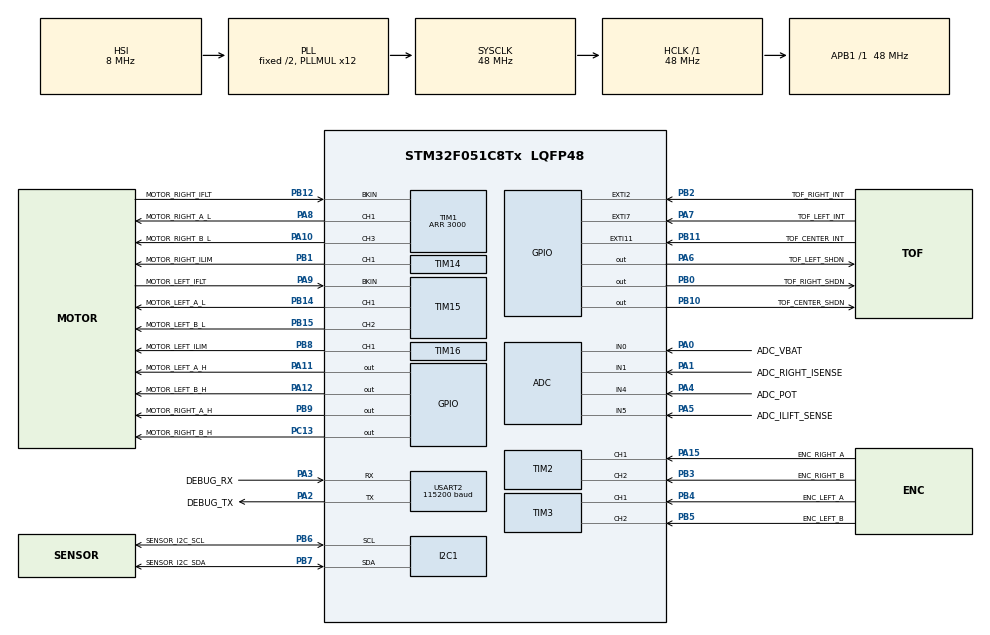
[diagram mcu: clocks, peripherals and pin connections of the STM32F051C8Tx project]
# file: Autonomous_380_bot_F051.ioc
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ADC.ContinuousConvMode=ENABLE
ADC.DMAContinuousRequests=ENABLE
ADC.EOCSelection=ADC_EOC_SEQ_CONV
ADC.Overrun=ADC_OVR_DATA_OVERWRITTEN
ADC.SamplingTime=ADC_SAMPLETIME_239CYCLES_5
Dma.ADC.0.Direction=DMA_PERIPH_TO_MEMORY
Dma.ADC.0.Instance=DMA1_Channel1
Dma.ADC.0.MemDataAlignment=DMA_MDATAALIGN_HALFWORD
Dma.ADC.0.MemInc=DMA_MINC_ENABLE
Dma.ADC.0.Mode=DMA_CIRCULAR
Dma.ADC.0.PeriphDataAlignment=DMA_PDATAALIGN_HALFWORD
Dma.ADC.0.PeriphInc=DMA_PINC_DISABLE
Dma.ADC.0.Priority=DMA_PRIORITY_LOW
Dma.Request0=ADC
Mcu.Family=STM32F0
Mcu.Name=STM32F051C8Tx
Mcu.Package=LQFP48
NVIC.DMA1_Channel1_IRQn=true\:0\:0\:false\:false\:true\:false\:true
PA0.GPIO_Label=ADC_VBAT
PA0.Mode=IN0
PA0.Signal=ADC_IN0
PA1.GPIO_Label=ADC_RIGHT_ISENSE
PA1.Mode=IN1
PA1.Signal=ADC_IN1
PA10.GPIO_Label=MOTOR_RIGHT_B_L
PA10.Signal=S_TIM1_CH3
PA11.GPIO_Label=MOTOR_LEFT_A_H
PA11.Signal=GPIO_Output
PA12.GPIO_Label=MOTOR_LEFT_B_H
PA12.Signal=GPIO_Output
PA13.Mode=Serial_Wire
PA13.Signal=SYS_SWDIO
PA14.Mode=Serial_Wire
PA14.Signal=SYS_SWCLK
PA15.GPIO_Label=ENC_RIGHT_A
PA15.Signal=S_TIM2_CH1_ETR
PA2.GPIO_Label=DEBUG_TX
PA2.Mode=Asynchronous
PA2.Signal=USART2_TX
PA3.GPIO_Label=DEBUG_RX
PA3.Mode=Asynchronous
PA3.Signal=USART2_RX
PA4.GPIO_Label=ADC_POT
PA4.Mode=IN4
PA4.Signal=ADC_IN4
PA5.GPIO_Label=ADC_ILIFT_SENSE
PA5.Mode=IN5
PA5.Signal=ADC_IN5
PA6.GPIO_Label=TOF_LEFT_SHDN
PA6.Signal=GPIO_Output
PA7.GPIO_Label=TOF_LEFT_INT
PA7.Signal=GPXTI7
PA8.GPIO_Label=MOTOR_RIGHT_A_L
PA8.Signal=S_TIM1_CH1
PA9.GPIO_Label=MOTOR_LEFT_IFLT
PA9.Mode=Activate-Break-Input
PA9.Signal=TIM15_BKIN
PB0.GPIO_Label=TOF_RIGHT_SHDN
PB0.Signal=GPIO_Output
PB1.GPIO_Label=MOTOR_RIGHT_ILIM
PB1.Signal=S_TIM14_CH1
PB10.GPIO_Label=TOF_CENTER_SHDN
PB10.Signal=GPIO_Output
PB11.GPIO_Label=TOF_CENTER_INT
PB11.Signal=GPXTI11
PB12.GPIO_Label=MOTOR_RIGHT_IFLT
PB12.Mode=Activate-Break-Input
PB12.Signal=TIM1_BKIN
PB14.GPIO_Label=MOTOR_LEFT_A_L
PB14.Signal=S_TIM15_CH1
PB15.GPIO_Label=MOTOR_LEFT_B_L
PB15.Signal=S_TIM15_CH2
PB2.GPIO_Label=TOF_RIGHT_INT
PB2.Signal=GPXTI2
PB3.GPIO_Label=ENC_RIGHT_B
PB3.Signal=S_TIM2_CH2
PB4.GPIO_Label=ENC_LEFT_A
PB4.Signal=S_TIM3_CH1
PB5.GPIO_Label=ENC_LEFT_B
PB5.Signal=S_TIM3_CH2
PB6.GPIO_Label=SENSOR_I2C_SCL
PB6.Mode=I2C
PB6.Signal=I2C1_SCL
PB7.GPIO_Label=SENSOR_I2C_SDA
PB7.Mode=I2C
PB7.Signal=I2C1_SDA
PB8.GPIO_Label=MOTOR_LEFT_ILIM
PB8.Signal=S_TIM16_CH1
PB9.GPIO_Label=MOTOR_RIGHT_A_H
PB9.Signal=GPIO_Output
PC13.GPIO_Label=MOTOR_RIGHT_B_H
PC13.Signal=GPIO_Output
ProjectManager.HeapSize=0x200
ProjectManager.StackSize=0x400
ProjectManager.TargetToolchain=STM32CubeIDE
RCC.AHBFreq_Value=48000000
RCC.APB1Freq_Value=48000000
RCC.APB1TimFreq_Value=48000000
RCC.HCLKFreq_Value=48000000
RCC.PLLMUL=RCC_PLL_MUL12
RCC.SYSCLKFreq_VALUE=48000000
RCC.SYSCLKSource=RCC_SYSCLKSOURCE_PLLCLK
SH.S_TIM14_CH1.0=TIM14_CH1,PWM Generation1 CH1
SH.S_TIM15_CH1.0=TIM15_CH1,PWM Generation1 CH1
SH.S_TIM15_CH2.0=TIM15_CH2,PWM Generation2 CH2
SH.S_TIM16_CH1.0=TIM16_CH1,PWM Generation1 CH1
SH.S_TIM1_CH1.0=TIM1_CH1,PWM Generation1 CH1
SH.S_TIM1_CH3.0=TIM1_CH3,PWM Generation3 CH3
SH.S_TIM2_CH1_ETR.0=TIM2_CH1,Encoder_Interface
SH.S_TIM2_CH2.0=TIM2_CH2,Encoder_Interface
SH.S_TIM3_CH1.0=TIM3_CH1,Encoder_Interface
SH.S_TIM3_CH2.0=TIM3_CH2,Encoder_Interface
TIM1.Channel-PWM\ Generation1\ CH1=TIM_CHANNEL_1
TIM1.Channel-PWM\ Generation3\ CH3=TIM_CHANNEL_3
TIM1.Period=3000
TIM14.Channel=TIM_CHANNEL_1
TIM14.Period=3000
TIM15.Channel-PWM\ Generation1\ CH1=TIM_CHANNEL_1
TIM15.Channel-PWM\ Generation2\ CH2=TIM_CHANNEL_2
TIM16.Channel=TIM_CHANNEL_1
TIM16.Period=3000
USART2.BaudRate=115200
USART2.VirtualMode-Asynchronous=VM_ASYNC
VP_TIM14_VS_ClockSourceINT.Mode=Enable_Timer
VP_TIM15_VS_ClockSourceINT.Mode=Internal
VP_TIM16_VS_ClockSourceINT.Mode=Enable_Timer
VP_TIM1_VS_ClockSourceINT.Mode=Internal
board=custom

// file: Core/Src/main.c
/* USER CODE BEGIN Header */
/**
  ******************************************************************************
  * @file           : main.c
  * @brief          : Main program body
  ******************************************************************************
  * @attention
  *
  * Copyright (c) 2022 STMicroelectronics.
  * All rights reserved.
  *
  * This software is licensed under terms that can be found in the LICENSE file
  * in the root directory of this software component.
  * If no LICENSE file comes with this software, it is provided AS-IS.
  *
  ******************************************************************************
  */
/* USER CODE END Header */
#include "main.h"
#include "adc.h"
#include "dma.h"
#include "i2c.h"
#include "tim.h"
#include "usart.h"
#include "gpio.h"

/* USER CODE BEGIN Includes */
#include "motors.h"
/* USER CODE END Includes */

/* USER CODE BEGIN PTD */
/*typedef enum
{
	NONE = 0,
	UP,
	DOWN,
	LEFT,
	RIGHT,
	CENTRE
}keypadState;
keypadState keypadStatus;*/
/* USER CODE END PTD */

/* USER CODE BEGIN PD */
#define SYSTEM_TICK 100
/* USER CODE END PD */

/* USER CODE BEGIN PV */
uint32_t current_time, last_time;
HAL_StatusTypeDef uart2Status;
uint16_t VbatSense;
uint16_t PotSense, LeftCurrentCount, RightCurrentCount;
uint8_t printNone[] = {' ', 'N', 'O', 'N', 'E', 0x0A, 0x0D};
uint8_t printUp[] = {' ', 'U', 'P', 0x0A, 0x0D};
uint8_t printDown[] = {' ', 'D', 'O', 'W', 'N', 0x0A, 0x0D};
uint8_t printLeft[] = {' ', 'L', 'E', 'F', 'T', 0x0A, 0x0D};
uint8_t printRight[] = {' ', 'R', 'I', 'G', 'H', 'T', 0x0A, 0x0D};
uint8_t printCentre[] = {' ', 'C', 'E', 'N', 'T','R', 'E', 0x0A, 0x0D};
/* USER CODE END PV */

void SystemClock_Config(void);
/* USER CODE BEGIN PFP */
void print_Values();
/* USER CODE END PFP */

int main(void)
{

  /* MCU Configuration--------------------------------------------------------*/

  /* Reset of all peripherals, Initializes the Flash interface and the Systick. */
  HAL_Init();

  /* Configure the system clock */
  SystemClock_Config();

  /* Initialize all configured peripherals */
  MX_GPIO_Init();
  MX_DMA_Init();
  MX_ADC_Init();
  MX_I2C1_Init();
  MX_TIM1_Init();
  MX_TIM2_Init();
  MX_TIM3_Init();
  MX_TIM14_Init();
  MX_TIM15_Init();
  MX_TIM16_Init();
  MX_USART2_UART_Init();
  /* USER CODE BEGIN 2 */
  ADC_ConfigDMA();
  TIM_initTimers();
  RightInit();
  LeftInit();
  last_time = HAL_GetTick();
  /* USER CODE END 2 */

  /* Infinite loop */
  while (1)
  {

    /* USER CODE BEGIN 3 */
	current_time = HAL_GetTick();
	if((current_time - last_time) >= SYSTEM_TICK)
	{
		last_time = current_time;
		// get adc data
		VbatSense = g_adcBuffer[0];
		RightCurrentCount = g_adcBuffer[1];
		PotSense = g_adcBuffer[2];
		LeftCurrentCount = g_adcBuffer[3];
		LeftCW(3000);
		RightCW(3000);
		print_Values();
	}
  }
  /* USER CODE END 3 */
}

void SystemClock_Config(void)
{
  RCC_OscInitTypeDef RCC_OscInitStruct = {0};
  RCC_ClkInitTypeDef RCC_ClkInitStruct = {0};
  RCC_PeriphCLKInitTypeDef PeriphClkInit = {0};

  /** Initializes the RCC Oscillators according to the specified parameters
  * in the RCC_OscInitTypeDef structure.
  */
  RCC_OscInitStruct.OscillatorType = RCC_OSCILLATORTYPE_HSI|RCC_OSCILLATORTYPE_HSI14;
  RCC_OscInitStruct.HSIState = RCC_HSI_ON;
  RCC_OscInitStruct.HSI14State = RCC_HSI14_ON;
  RCC_OscInitStruct.HSICalibrationValue = RCC_HSICALIBRATION_DEFAULT;
  RCC_OscInitStruct.HSI14CalibrationValue = 16;
  RCC_OscInitStruct.PLL.PLLState = RCC_PLL_ON;
  RCC_OscInitStruct.PLL.PLLSource = RCC_PLLSOURCE_HSI;
  RCC_OscInitStruct.PLL.PLLMUL = RCC_PLL_MUL12;
  RCC_OscInitStruct.PLL.PREDIV = RCC_PREDIV_DIV1;
  if (HAL_RCC_OscConfig(&RCC_OscInitStruct) != HAL_OK)
  {
    Error_Handler();
  }
  /** Initializes the CPU, AHB and APB buses clocks
  */
  RCC_ClkInitStruct.ClockType = RCC_CLOCKTYPE_HCLK|RCC_CLOCKTYPE_SYSCLK
                              |RCC_CLOCKTYPE_PCLK1;
  RCC_ClkInitStruct.SYSCLKSource = RCC_SYSCLKSOURCE_PLLCLK;
  RCC_ClkInitStruct.AHBCLKDivider = RCC_SYSCLK_DIV1;
  RCC_ClkInitStruct.APB1CLKDivider = RCC_HCLK_DIV1;

  if (HAL_RCC_ClockConfig(&RCC_ClkInitStruct, FLASH_LATENCY_1) != HAL_OK)
  {
    Error_Handler();
  }
  PeriphClkInit.PeriphClockSelection = RCC_PERIPHCLK_I2C1;
  PeriphClkInit.I2c1ClockSelection = RCC_I2C1CLKSOURCE_HSI;
  if (HAL_RCCEx_PeriphCLKConfig(&PeriphClkInit) != HAL_OK)
  {
    Error_Handler();
  }
}

/* USER CODE BEGIN 4 */
void print_Values()
{
	uint16_t temp;
	// convert to ASCII for display
	uint8_t arrayVal[] = {0x30, 0x30, 0x30, 0x30, ' ', 0x30, 0x30, 0x30, 0x30, ' ',
	0x30, 0x30, 0x30, 0x30, ' ',0x30, 0x30, 0x30, 0x30};
	temp = VbatSense;
	arrayVal[0] += (temp / 1000);
	temp = temp % 1000;
	arrayVal[1] += (temp / 100);
	temp = temp % 100;
	arrayVal[2] += (temp / 10);
	temp = temp % 10;
	arrayVal[3] += temp;
	temp = VbatSense;
	arrayVal[5] += (temp / 1000);
	temp = temp % 1000;
	arrayVal[6] += (temp / 100);
	temp = temp % 100;
	arrayVal[7] += (temp / 10);
	temp = temp % 10;
	arrayVal[8] += temp;
	temp = PotSense;
	arrayVal[10] += (temp / 1000);
	temp = temp % 1000;
	arrayVal[11] += (temp / 100);
	temp = temp % 100;
	arrayVal[12] += (temp / 10);
	temp = temp % 10;
	arrayVal[13] += temp;
	temp = LeftCurrentCount;
	arrayVal[15] += (temp / 1000);
	temp = temp % 1000;
	arrayVal[16] += (temp / 100);
	temp = temp % 100;
	arrayVal[17] += (temp / 10);
	temp = temp % 10;
	arrayVal[18] += temp;
	// send it across
	HAL_UART_Transmit(&huart2, arrayVal, sizeof(arrayVal), 100);
}
/* USER CODE END 4 */

void Error_Handler(void)
{
  __disable_irq();
  while (1)
  {
  }
}
